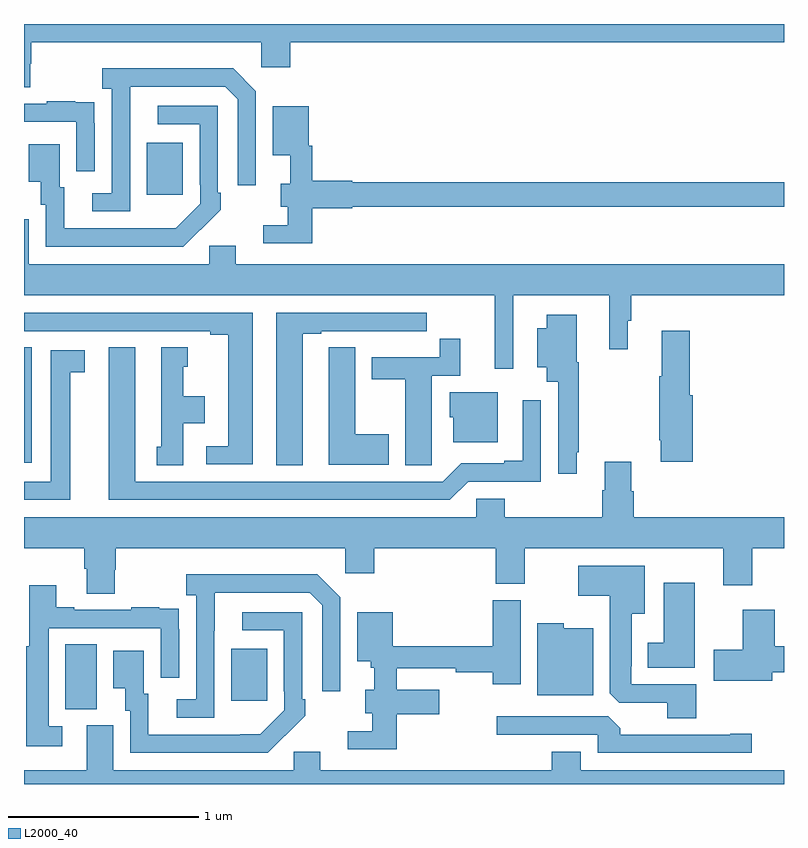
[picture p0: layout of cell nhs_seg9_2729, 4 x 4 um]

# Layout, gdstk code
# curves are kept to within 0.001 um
import gdstk
lib = gdstk.Library(unit=1e-6, precision=1e-09)
def R(c, l, rs):  # rectangles x0, y0, x1, y1
    for r in rs: c.add(gdstk.rectangle(r[:2], r[2:], *l))
def P(c, l, *ps):  # polygons
    for p in ps: c.add(gdstk.Polygon(p, *l))
L2000_40 = (2000, 40)

nhs_seg9_2729 = lib.new_cell('nhs_seg9_2729')
R(nhs_seg9_2729, L2000_40, [(267.218,1208.893,267.382,1209.236), (268.091,1208.937,268.279,1209.211), (267,1210.191,267.04,1210.799), (267.647,1211.601,267.835,1211.875)])
P(nhs_seg9_2729, L2000_40, [(267.033,1212.291),(267.038,1212.291),(267.038,1212.404),(268.248,1212.404),(268.248,1212.273),(268.4,1212.273),(268.4,1212.404),(271,1212.404),(271,1212.5),(267,1212.5),(267,1212.166),(267.033,1212.166)],
  [(267.558,1211.971),(267.559,1212.171),(268.059,1212.171),(268.125,1212.105),(268.125,1211.652),(268.221,1211.652),(268.221,1212.147),(268.1,1212.268),(267.411,1212.268),(267.411,1212.158),(267.462,1212.158),(267.462,1211.61),(267.36,1211.61),(267.36,1211.514),(267.558,1211.514)],
  [(267.372,1211.978),(267.371,1211.978),(267.371,1212.087),(267.269,1212.087),(267.269,1212.094),(267.121,1212.094),(267.121,1212.081),(267,1212.081),(267,1211.985),(267.276,1211.985),(267.276,1211.724),(267.372,1211.724)],
  [(267.929,1211.419),(267.93,1211.418),(268.035,1211.523),(268.035,1211.611),(268.02,1211.611),(268.02,1212.069),(267.705,1212.069),(267.705,1211.973),(267.924,1211.973),(267.924,1211.653),(267.927,1211.653),(267.927,1211.553),(267.799,1211.425),(267.211,1211.424),(267.211,1211.64),(267.187,1211.64),(267.187,1211.866),(267.026,1211.866),(267.026,1211.669),(267.089,1211.669),(267.089,1211.55),(267.114,1211.55),(267.114,1211.328),(267.838,1211.328)],
  [(268.517,1211.53),(268.728,1211.53),(268.728,1211.538),(271,1211.538),(271,1211.666),(268.728,1211.666),(268.728,1211.674),(268.517,1211.674),(268.517,1211.859),(268.498,1211.859),(268.498,1212.067),(268.31,1212.067),(268.31,1211.81),(268.4,1211.81),(268.4,1211.659),(268.352,1211.659),(268.352,1211.537),(268.389,1211.537),(268.389,1211.442),(268.26,1211.442),(268.26,1211.346),(268.517,1211.346)],
  [(269.574,1211.072),(270.08,1211.072),(270.08,1210.788),(270.178,1210.788),(270.178,1210.938),(270.197,1210.938),(270.197,1211.072),(271,1211.072),(271,1211.236),(268.114,1211.236),(268.114,1211.334),(267.975,1211.334),(267.975,1211.236),(267.025,1211.236),(267.025,1211.472),(267,1211.472),(267,1211.072),(269.477,1211.072),(269.477,1210.686),(269.574,1210.686)],
  [(268.468,1210.869),(268.564,1210.869),(268.564,1210.884),(268.84,1210.884),(268.84,1210.883),(269.006,1210.883),(269.006,1210.884),(269.119,1210.884),(269.119,1210.98),(268.328,1210.98),(268.328,1210.177),(268.468,1210.177)],
  [(268.204,1210.98),(267,1210.98),(267,1210.884),(267.98,1210.884),(267.98,1210.864),(268.076,1210.864),(268.076,1210.278),(267.96,1210.278),(267.96,1210.182),(268.204,1210.182)],
  [(269.908,1210.246),(269.92,1210.246),(269.92,1210.72),(269.908,1210.72),(269.908,1210.969),(269.75,1210.969),(269.75,1210.9),(269.702,1210.9),(269.702,1210.694),(269.75,1210.694),(269.75,1210.616),(269.811,1210.616),(269.811,1210.134),(269.908,1210.134)],
  [(270.521,1210.545),(270.503,1210.545),(270.503,1210.885),(270.356,1210.885),(270.356,1210.645),(270.343,1210.645),(270.343,1210.309),(270.35,1210.309),(270.35,1210.197),(270.521,1210.197)],
  [(269.145,1210.288),(269.146,1210.288),(269.146,1210.65),(269.297,1210.65),(269.297,1210.843),(269.188,1210.843),(269.188,1210.746),(268.829,1210.746),(268.829,1210.63),(269.006,1210.63),(269.006,1210.177),(269.145,1210.177)],
  [(268.921,1210.341),(268.744,1210.341),(268.744,1210.799),(268.605,1210.799),(268.605,1210.691),(268.604,1210.691),(268.604,1210.181),(268.921,1210.181)],
  [(267.838,1210.4),(267.952,1210.4),(267.952,1210.54),(267.838,1210.54),(267.838,1210.695),(267.862,1210.695),(267.862,1210.798),(267.722,1210.798),(267.722,1210.275),(267.698,1210.275),(267.698,1210.177),(267.838,1210.177)],
  [(269.337,1210.092),(269.721,1210.092),(269.721,1210.519),(269.624,1210.519),(269.624,1210.201),(269.528,1210.201),(269.528,1210.188),(269.301,1210.188),(269.205,1210.092),(267.586,1210.092),(267.586,1210.798),(267.446,1210.798),(267.446,1209.996),(269.241,1209.996)],
  [(267.244,1210.666),(267.319,1210.666),(267.319,1210.782),(267.14,1210.782),(267.14,1210.092),(267,1210.092),(267,1209.996),(267.244,1209.996)],
  [(269.494,1210.561),(269.24,1210.561),(269.24,1210.431),(269.258,1210.431),(269.258,1210.298),(269.494,1210.298)],
  [(267.477,1209.627),(267.482,1209.627),(267.482,1209.74),(268.692,1209.74),(268.692,1209.609),(268.844,1209.609),(268.844,1209.74),(269.483,1209.74),(269.483,1209.553),(269.635,1209.553),(269.635,1209.74),(270.68,1209.74),(270.68,1209.546),(270.833,1209.546),(270.833,1209.74),(271,1209.74),(271,1209.904),(270.209,1209.904),(270.209,1210.041),(270.196,1210.041),(270.196,1210.195),(270.056,1210.195),(270.056,1210.046),(270.044,1210.046),(270.044,1209.904),(269.531,1209.904),(269.531,1210.002),(269.379,1210.002),(269.379,1209.904),(267,1209.904),(267,1209.74),(267.317,1209.74),(267.317,1209.634),(267.329,1209.634),(267.329,1209.502),(267.477,1209.502)],
  [(270.539,1209.024),(270.195,1209.024),(270.195,1209.121),(270.199,1209.121),(270.199,1209.395),(270.268,1209.395),(270.268,1209.649),(269.916,1209.649),(269.916,1209.491),(270.083,1209.491),(270.083,1208.977),(270.132,1208.928),(270.386,1208.928),(270.386,1208.845),(270.539,1208.845)],
  [(268.002,1209.307),(268.003,1209.507),(268.503,1209.507),(268.569,1209.441),(268.569,1208.988),(268.665,1208.988),(268.665,1209.483),(268.544,1209.604),(267.855,1209.604),(267.855,1209.494),(267.906,1209.494),(267.906,1208.946),(267.804,1208.946),(267.804,1208.85),(268.002,1208.85)],
  [(270.529,1209.559),(270.368,1209.559),(270.368,1209.244),(270.284,1209.244),(270.284,1209.113),(270.529,1209.113)],
  [(267.202,1208.805),(267.129,1208.805),(267.129,1209.321),(267.72,1209.321),(267.72,1209.06),(267.816,1209.06),(267.816,1209.314),(267.815,1209.314),(267.815,1209.423),(267.713,1209.423),(267.713,1209.43),(267.565,1209.43),(267.565,1209.417),(267.265,1209.417),(267.265,1209.43),(267.169,1209.43),(267.169,1209.547),(267.028,1209.547),(267.028,1209.224),(267.013,1209.224),(267.013,1208.7),(267.202,1208.7)],
  [(268.961,1208.866),(269.185,1208.866),(269.185,1208.995),(268.961,1208.995),(268.961,1209.108),(269.272,1209.108),(269.272,1209.088),(269.468,1209.088),(269.468,1209.024),(269.614,1209.024),(269.614,1209.468),(269.468,1209.468),(269.468,1209.224),(268.942,1209.224),(268.942,1209.403),(268.754,1209.403),(268.754,1209.146),(268.826,1209.146),(268.826,1209.111),(268.844,1209.111),(268.844,1208.995),(268.796,1208.995),(268.796,1208.873),(268.833,1208.873),(268.833,1208.778),(268.704,1208.778),(268.704,1208.682),(268.961,1208.682)],
  [(270.937,1209.088),(271,1209.088),(271,1209.224),(270.95,1209.224),(270.95,1209.418),(270.782,1209.418),(270.782,1209.207),(270.63,1209.207),(270.63,1209.044),(270.937,1209.044)],
  [(268.373,1208.755),(268.374,1208.754),(268.479,1208.859),(268.479,1208.947),(268.464,1208.947),(268.464,1209.405),(268.149,1209.405),(268.149,1209.309),(268.368,1209.309),(268.368,1208.989),(268.371,1208.989),(268.371,1208.889),(268.243,1208.761),(267.655,1208.76),(267.655,1208.976),(267.631,1208.976),(267.631,1209.202),(267.47,1209.202),(267.47,1209.005),(267.533,1209.005),(267.533,1208.886),(267.558,1208.886),(267.558,1208.664),(268.282,1208.664)],
  [(269.995,1209.319),(269.841,1209.319),(269.841,1209.346),(269.702,1209.346),(269.702,1208.966),(269.995,1208.966)],
  [(270.829,1208.765),(270.716,1208.765),(270.716,1208.76),(270.137,1208.76),(270.137,1208.794),(270.075,1208.856),(269.487,1208.856),(269.487,1208.76),(270.021,1208.76),(270.021,1208.664),(270.829,1208.664)],
  [(271,1208.572),(269.929,1208.572),(269.929,1208.671),(269.777,1208.671),(269.777,1208.572),(268.558,1208.572),(268.558,1208.67),(268.419,1208.67),(268.419,1208.572),(267.469,1208.572),(267.469,1208.808),(267.329,1208.808),(267.329,1208.572),(267,1208.572),(267,1208.5),(271,1208.5)])

lib.write_gds('nhs_seg9_2729.gds')
